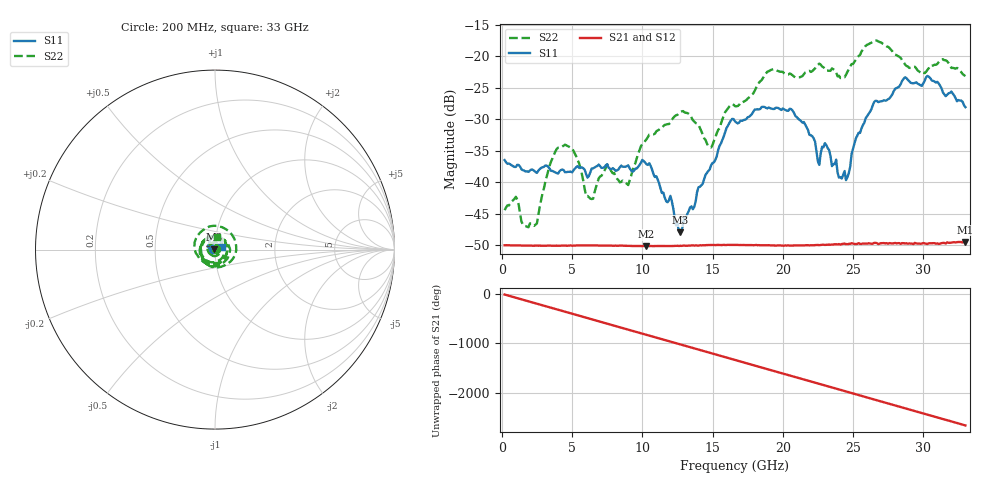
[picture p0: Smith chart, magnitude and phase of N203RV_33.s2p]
# GHZ S RI R 50
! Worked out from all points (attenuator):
!   329 points, 200 MHz to 33 GHz, reference 50 ohm
!   highest |S21| = -49.44 dB at 33 GHz (marker M1); lowest = -50.1 dB at 10.3 GHz (marker M2)
!   lowest |S11| = -48.0 dB at 12.7 GHz (marker M3), VSWR 1.01, Z = 49.6 + j0.158 ohm
!   |S11| at or under -10 dB: start of sweep to end of sweep
!   |S22| runs from -47.1 to -17.5 dB; largest |S21 - S12| = 7.2e-05
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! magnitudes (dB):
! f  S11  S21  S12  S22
! 200 MHz  -36.5  -50.0  -50.0  -44.4
! 1 GHz  -37.6  -50.0  -50.0  -42.3
! 2.5 GHz  -38.5  -50.0  -50.0  -46.5
! 4 GHz  -38.6  -50.0  -50.0  -34.5
! 5.7 GHz  -37.6  -50.0  -50.0  -38.7
! 6.4 GHz  -37.8  -50.0  -50.0  -42.7
! 7.5 GHz  -37.1  -50.0  -50.0  -37.2
! 9 GHz  -37.3  -50.1  -50.0  -40.4
! 10.3 GHz  -37.1  -50.1  -50.1  -33.2
! 11.2 GHz  -40.2  -50.1  -50.1  -31.6
! 12.7 GHz  -48.0  -50.1  -50.1  -28.9
! 14.9 GHz  -37.3  -50.0  -49.9  -34.5
! 16.6 GHz  -30.3  -49.9  -49.9  -27.9
! 20.5 GHz  -28.3  -50.0  -50.0  -22.7
! 22.1 GHz  -32.7  -50.0  -49.9  -22.4
! 22.6 GHz  -37.2  -50.0  -49.9  -21.2
! 23 GHz  -33.8  -49.9  -49.9  -22.1
! 24.5 GHz  -39.7  -49.8  -49.7  -23.0
! 26.5 GHz  -27.3  -49.6  -49.7  -17.5
! 27.6 GHz  -26.7  -49.6  -49.7  -18.7
! 30.3 GHz  -23.1  -49.8  -49.7  -22.2
! 33 GHz  -28.1  -49.4  -49.4  -23.2
